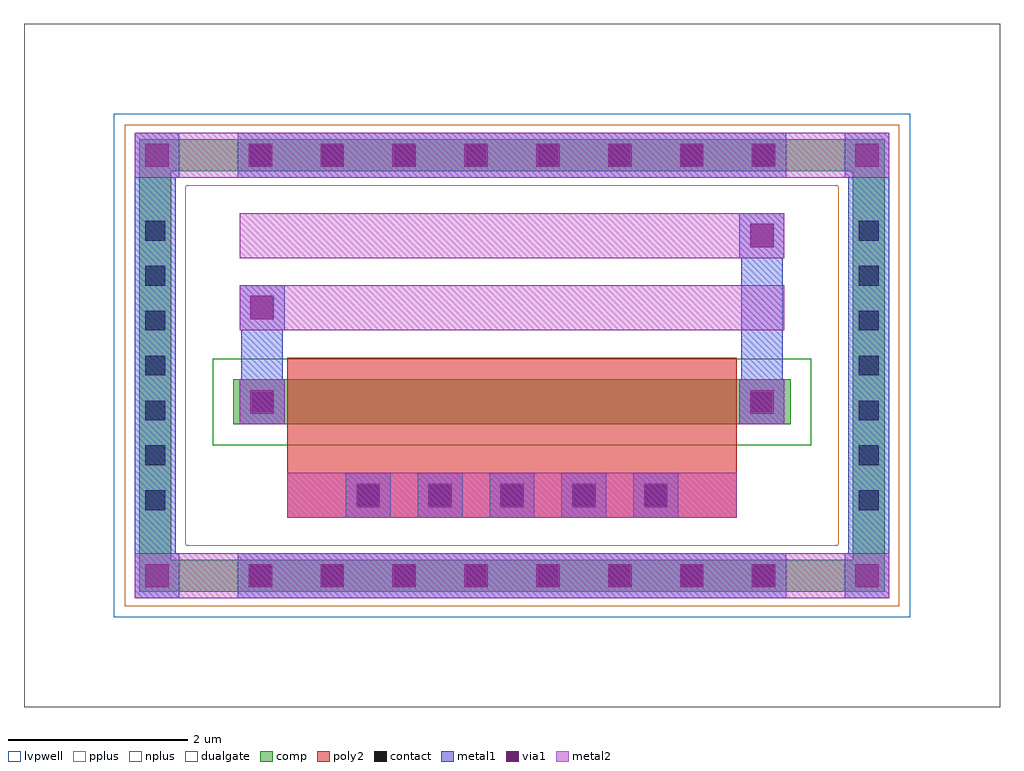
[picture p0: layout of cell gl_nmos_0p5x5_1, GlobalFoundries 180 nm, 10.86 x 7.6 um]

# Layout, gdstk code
import gdstk
lib = gdstk.Library(unit=1e-6, precision=1e-09)
def R(c, l, rs):  # rectangles x0, y0, x1, y1
    for r in rs: c.add(gdstk.rectangle(r[:2], r[2:], *l))
def A(c, l, x, y, w, h, nx, ny, dx, dy):  # array of equal rectangles
    R(c, l, [(x+i*dx, y+j*dy, x+i*dx+w, y+j*dy+h) for i in range(nx) for j in range(ny)])
def P(c, l, *ps):  # polygons
    for p in ps: c.add(gdstk.Polygon(p, *l))
comp = (22, 0)
poly2 = (30, 0)
pplus = (31, 0)
nplus = (32, 0)
contact = (33, 0)
metal1 = (34, 0)
via1 = (35, 0)
metal2 = (36, 0)
dualgate = (55, 0)
lvpwell = (204, 0)

gl_nmos_0p5x5_1 = lib.new_cell('gl_nmos_0p5x5_1')
A(gl_nmos_0p5x5_1, comp, -2.98, -2.52, 0.36, 0.36, 8, 2, 0.8, 4.68)
A(gl_nmos_0p5x5_1, comp, -4.15, -1.68, 0.36, 0.36, 1, 7, 0, 0.5)
A(gl_nmos_0p5x5_1, comp, 3.79, -1.68, 0.36, 0.36, 1, 7, 0, 0.5)
R(gl_nmos_0p5x5_1, comp, [(-2.98,-2.52,2.98,-2.16), (-4.15,-1.68,-3.79,1.68), (3.79,-1.68,4.15,1.68), (-3.1,-0.655,3.1,-0.155), (-2.98,2.16,2.98,2.52)])
P(gl_nmos_0p5x5_1, comp, [(-4.15,-2.52),(-4.15,-2.16),(-3.79,-2.16),(3.79,-2.16),(3.79,2.16),(-3.79,2.16),(-3.79,-2.16),(-4.15,-2.16),(-4.15,2.52),(4.15,2.52),(4.15,-2.52)])
A(gl_nmos_0p5x5_1, poly2, -1.78, -1.625, 0.36, 0.36, 5, 1, 0.8, 0)
R(gl_nmos_0p5x5_1, poly2, [(-2.5,-1.695,2.5,-1.195), (-2.5,-1.195,2.5,-0.895), (-2.5,-0.895,2.5,0.085)])
P(gl_nmos_0p5x5_1, pplus, [(-4.31,-2.68),(-4.31,-2),(-3.63,-2),(3.63,-2),(3.63,2),(-3.63,2),(-3.63,-2),(-4.31,-2),(-4.31,2.68),(4.31,2.68),(4.31,-2.68)])
R(gl_nmos_0p5x5_1, nplus, [(-3.33,-0.885,3.33,0.075)])
A(gl_nmos_0p5x5_1, contact, -2.91, -2.45, 0.22, 0.22, 8, 2, 0.8, 4.68)
A(gl_nmos_0p5x5_1, contact, -4.08, -1.61, 0.22, 0.22, 1, 7, 0, 0.5)
A(gl_nmos_0p5x5_1, contact, 3.86, -1.61, 0.22, 0.22, 1, 7, 0, 0.5)
A(gl_nmos_0p5x5_1, contact, -1.71, -1.555, 0.22, 0.22, 5, 1, 0.8, 0)
R(gl_nmos_0p5x5_1, contact, [(-2.89,-0.515,-2.67,-0.295), (2.67,-0.515,2.89,-0.295)])
A(gl_nmos_0p5x5_1, metal1, -3.05, -2.59, 0.5, 0.5, 8, 2, 0.8, 4.68)
A(gl_nmos_0p5x5_1, metal1, -4.2, -1.73, 0.46, 0.46, 1, 7, 0, 0.5)
A(gl_nmos_0p5x5_1, metal1, 3.74, -1.73, 0.46, 0.46, 1, 7, 0, 0.5)
A(gl_nmos_0p5x5_1, metal1, -1.85, -1.695, 0.5, 0.5, 5, 1, 0.8, 0)
R(gl_nmos_0p5x5_1, metal1, [(-4.2,-2.59,-3.7,-2.09), (-4.2,-2.59,-3.7,-2.09), (-4.2,-2.59,-3.74,-2.16), (-3.05,-2.59,3.05,-2.09), (3.7,-2.59,4.2,-2.09), (3.7,-2.59,4.2,-2.09), (3.74,-2.59,4.2,-2.16), (-4.2,-2.16,-3.74,2.16), (3.74,-2.16,4.2,2.16), (-3.03,-0.655,-2.53,-0.155), (-3.03,-0.655,-2.53,-0.155), (-3.01,-0.655,-2.55,-0.155), (2.53,-0.655,3.03,-0.155), (2.53,-0.655,3.03,-0.155), (2.55,-0.655,3.01,-0.155), (-3.01,-0.635,-2.55,-0.175), (2.55,-0.635,3.01,-0.175), (-3.01,-0.155,-2.55,0.895), (2.55,-0.155,3.01,1.695), (-3.03,0.395,-2.53,0.895), (2.53,1.195,3.03,1.695), (-4.2,2.09,-3.7,2.59), (-4.2,2.09,-3.7,2.59), (-3.05,2.09,3.05,2.59), (3.7,2.09,4.2,2.59), (3.7,2.09,4.2,2.59), (-4.2,2.16,-3.74,2.59), (3.74,2.16,4.2,2.59)])
A(gl_nmos_0p5x5_1, via1, -2.93, -2.47, 0.26, 0.26, 8, 2, 0.8, 4.68)
A(gl_nmos_0p5x5_1, via1, -1.73, -1.575, 0.26, 0.26, 5, 1, 0.8, 0)
R(gl_nmos_0p5x5_1, via1, [(-4.08,-2.47,-3.82,-2.21), (3.82,-2.47,4.08,-2.21), (-2.91,-0.535,-2.65,-0.275), (2.65,-0.535,2.91,-0.275), (-2.91,0.515,-2.65,0.775), (2.65,1.315,2.91,1.575), (-4.08,2.21,-3.82,2.47), (3.82,2.21,4.08,2.47)])
A(gl_nmos_0p5x5_1, metal2, -3.05, -2.59, 0.5, 0.5, 8, 2, 0.8, 4.68)
A(gl_nmos_0p5x5_1, metal2, -1.85, -1.695, 0.5, 0.5, 5, 1, 0.8, 0)
R(gl_nmos_0p5x5_1, metal2, [(-4.2,-2.59,-3.7,-2.09), (-4.2,-2.59,-3.7,-2.09), (-4.2,-2.59,-3.79,-2.09), (-3.79,-2.59,3.79,-2.09), (3.7,-2.59,4.2,-2.09), (3.7,-2.59,4.2,-2.09), (3.79,-2.59,4.2,-2.09), (-2.5,-1.695,2.5,-1.195), (-3.03,-0.655,-2.53,-0.155), (-3.03,-0.655,-2.53,-0.155), (2.53,-0.655,3.03,-0.155), (2.53,-0.655,3.03,-0.155), (-3.03,0.395,-2.53,0.895), (-3.03,0.395,3.03,0.895), (-3.03,1.195,3.03,1.695), (2.53,1.195,3.03,1.695), (-4.2,2.09,-3.7,2.59), (-4.2,2.09,-3.7,2.59), (-4.2,2.09,-3.79,2.59), (-3.79,2.09,3.79,2.59), (3.7,2.09,4.2,2.59), (3.7,2.09,4.2,2.59), (3.79,2.09,4.2,2.59)])
R(gl_nmos_0p5x5_1, dualgate, [(-5.43,-3.8,5.43,3.8)])
R(gl_nmos_0p5x5_1, lvpwell, [(-4.43,-2.8,4.43,2.8)])

lib.write_gds('gl_nmos_0p5x5_1.gds')
